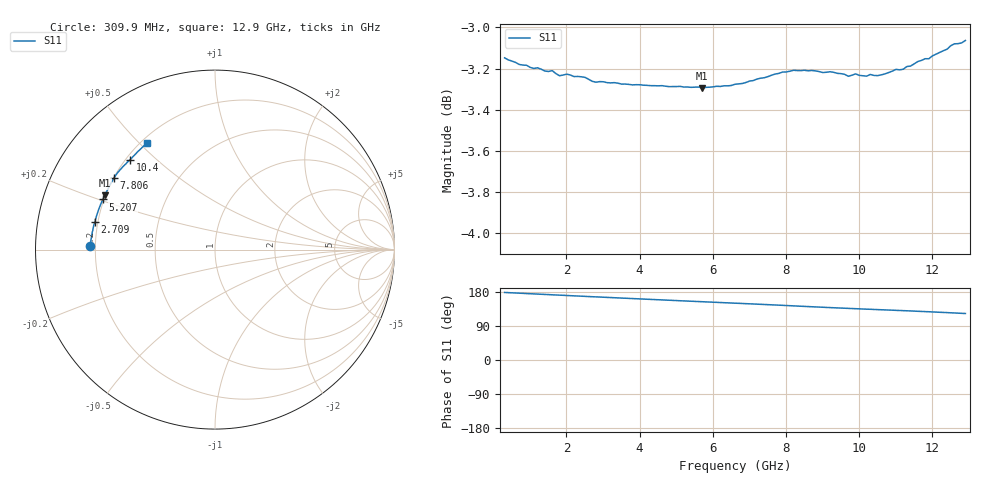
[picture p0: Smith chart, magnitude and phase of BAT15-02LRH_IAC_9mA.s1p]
! Infineon Technologies  Discrete & RF Semiconductors
! BAT15-02LRH
! IAC = 9 mA
! One-Port S-Parameters
# Hz  S  MA  R  50
!f  S11
!Hz  Mag  Ang
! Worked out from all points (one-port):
!   127 points, 309.9 MHz to 12.9 GHz, reference 50 ohm
!   lowest |S11| = -3.3 dB at 5.707 GHz (marker M1), VSWR 5.34, Z = 9.86 + j11.2 ohm
!   |S11| at or under -10 dB: nowhere
!   S11 on the Smith chart (normalised r, x): 309.9 MHz: 0.18, +0.01; 2.709 GHz: 0.19, +0.11; 5.207 GHz: 0.20, +0.21; 7.806 GHz: 0.20, +0.31; 10.4 GHz: 0.22, +0.41; 12.9 GHz: 0.22, +0.52
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3.0985e8  0.696 178.3
1.2094e9  0.6921 174.0
1.6092e9  0.691 172.1
1.70915e9  0.6899 171.6
1.90905e9  0.6893 170.8
2.4088e9  0.6886 168.4
2.70865e9  0.6869 167.0
3.50825e9  0.6858 163.4
4.008e9  0.6856 161.2
5.10745e9  0.685 156.4
5.2074e9  0.6847 155.9
5.70715e9  0.6844 153.8
6.6067e9  0.6858 149.9
7.2064e9  0.6877 147.4
7.8061e9  0.6899 144.7
8.2059e9  0.6912 142.9
8.50575e9  0.6912 141.4
9.10545e9  0.6904 138.7
9.8051e9  0.6893 135.8
1.04048e10  0.6892 133.4
1.10045e10  0.6915 131.0
1.14043e10  0.6928 129.5
1.16042e10  0.6945 128.5
1.2004e10  0.6967 126.9
1.26037e10  0.7015 124.1
1.270365e10  0.7015 123.7
1.28036e10  0.7018 123.1
1.290355e10  0.7028 122.7
